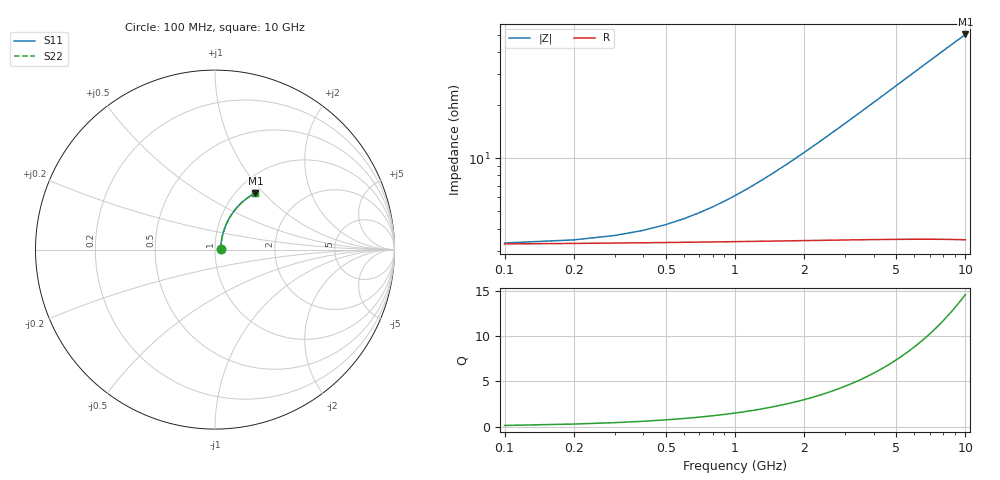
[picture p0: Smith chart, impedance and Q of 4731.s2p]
# Hz S RI R 50.00
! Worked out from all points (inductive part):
!   100 points, 100 MHz to 10 GHz, reference 50 ohm
!   read as one part in series: L = 817 pH near 2 GHz
!   highest Q = 14.6 at 10 GHz (marker M1), where L = 801 pH
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1e8  0.0317 0.00411  0.9683 -0.00553  0.9683 -0.00553  0.0317 0.00411
2e8  0.032 0.00821  0.968 -0.0111  0.968 -0.0111  0.032 0.00821
3e8  0.0322 0.0123  0.9677 -0.0166  0.9677 -0.0166  0.0322 0.0123
4e8  0.0325 0.0164  0.9675 -0.0221  0.9675 -0.0221  0.0325 0.0164
6e8  0.0332 0.0246  0.9668 -0.0331  0.9668 -0.0331  0.0332 0.0246
1e9  0.035 0.0409  0.9649 -0.0551  0.9649 -0.0551  0.035 0.0409
1.2e9  0.0361 0.049  0.9637 -0.0661  0.9637 -0.0661  0.0361 0.049
1.5e9  0.0381 0.061  0.9616 -0.0825  0.9616 -0.0825  0.0381 0.061
1.8e9  0.0406 0.073  0.9591 -0.0987  0.9591 -0.0987  0.0406 0.073
2.1e9  0.0434 0.0849  0.9561 -0.1149  0.9561 -0.1149  0.0434 0.0849
2.5e9  0.0477 0.1005  0.9516 -0.1363  0.9516 -0.1363  0.0477 0.1005
2.9e9  0.0527 0.1159  0.9464 -0.1573  0.9464 -0.1573  0.0527 0.1159
3.4e9  0.0599 0.1347  0.9388 -0.1833  0.9388 -0.1833  0.0599 0.1347
3.8e9  0.0664 0.1493  0.9321 -0.2037  0.9321 -0.2037  0.0664 0.1493
4.2e9  0.0735 0.1636  0.9246 -0.2237  0.9246 -0.2237  0.0735 0.1636
4.6e9  0.0811 0.1775  0.9166 -0.2433  0.9166 -0.2433  0.0811 0.1775
5.1e9  0.0915 0.1942  0.9058 -0.2672  0.9058 -0.2672  0.0915 0.1942
5.9e9  0.1097 0.2194  0.8866 -0.304  0.8866 -0.304  0.1097 0.2194
6.7e9  0.1297 0.2426  0.8655 -0.3387  0.8655 -0.3387  0.1297 0.2426
7.5e9  0.1512 0.2637  0.8428 -0.3714  0.8428 -0.3714  0.1512 0.2637
8.4e9  0.177 0.2848  0.8155 -0.4056  0.8155 -0.4056  0.177 0.2848
1e10  0.2256 0.3152  0.7637 -0.4594  0.7637 -0.4594  0.2256 0.3152
